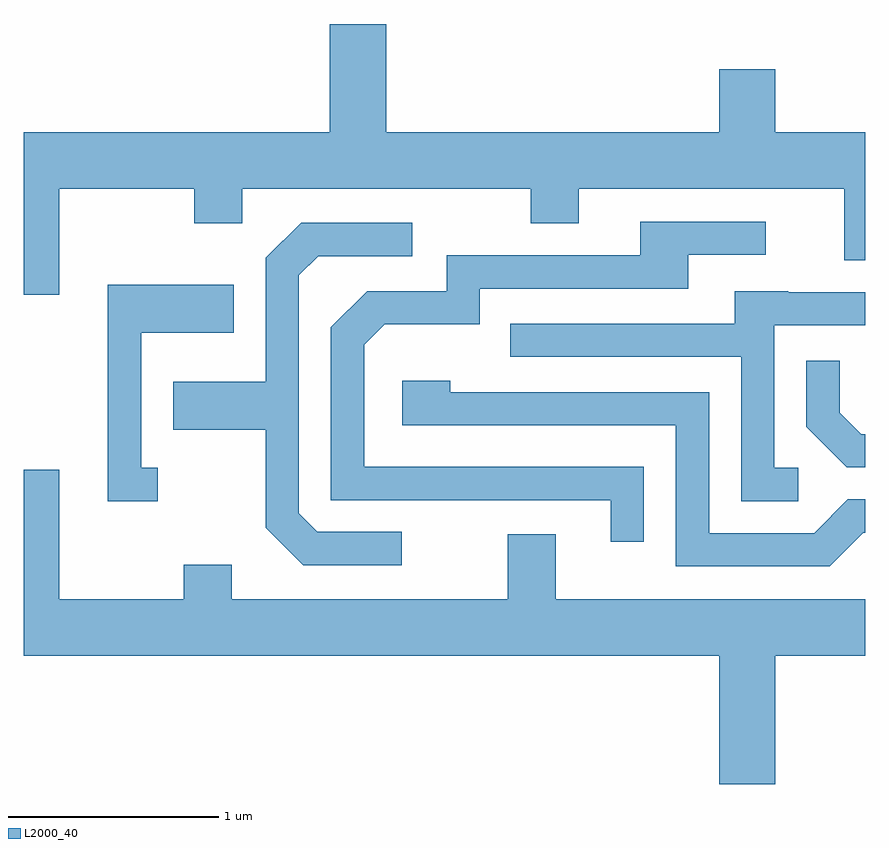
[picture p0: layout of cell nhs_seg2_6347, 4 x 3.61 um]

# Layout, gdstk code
import gdstk
lib = gdstk.Library(unit=1e-6, precision=1e-09)
def P(c, l, *ps):  # polygons
    for p in ps: c.add(gdstk.Polygon(p, *l))
L2000_40 = (2000, 40)

nhs_seg2_6347 = lib.new_cell('nhs_seg2_6347')
P(nhs_seg2_6347, L2000_40, [(371.779,1094.936),(372.421,1094.936),(372.421,1094.771),(372.649,1094.771),(372.649,1094.936),(374.021,1094.936),(374.021,1094.771),(374.249,1094.771),(374.249,1094.936),(375.511,1094.936),(375.511,1094.596),(375.611,1094.596),(375.611,1095.204),(375.184,1095.204),(375.184,1095.504),(374.916,1095.504),(374.916,1095.204),(373.334,1095.204),(373.334,1095.719),(373.066,1095.719),(373.066,1095.204),(371.611,1095.204),(371.611,1094.431),(371.779,1094.431)],
  [(374.559,1093.614),(373.229,1093.614),(373.229,1094.194),(373.327,1094.291),(373.779,1094.291),(373.779,1094.461),(374.769,1094.461),(374.769,1094.621),(375.138,1094.621),(375.138,1094.779),(374.541,1094.779),(374.541,1094.619),(373.621,1094.619),(373.621,1094.449),(373.244,1094.449),(373.071,1094.277),(373.071,1093.456),(374.401,1093.456),(374.401,1093.258),(374.559,1093.258)],
  [(373.408,1093.304),(373.007,1093.304),(372.919,1093.392),(372.919,1094.524),(373.012,1094.616),(373.458,1094.616),(373.458,1094.774),(372.929,1094.774),(372.761,1094.607),(372.761,1094.019),(372.321,1094.019),(372.321,1093.791),(372.761,1093.791),(372.761,1093.324),(372.939,1093.146),(373.408,1093.146)],
  [(372.248,1093.609),(372.169,1093.609),(372.169,1094.251),(372.609,1094.251),(372.609,1094.479),(372.011,1094.479),(372.011,1093.451),(372.248,1093.451)],
  [(375.293,1093.609),(375.179,1093.609),(375.179,1094.286),(375.611,1094.286),(375.611,1094.444),(375.245,1094.444),(375.245,1094.449),(374.991,1094.449),(374.991,1094.294),(373.923,1094.294),(373.923,1094.136),(375.021,1094.136),(375.021,1093.451),(375.293,1093.451)],
  [(375.611,1093.769),(375.592,1093.769),(375.489,1093.872),(375.489,1094.118),(375.331,1094.118),(375.331,1093.804),(375.524,1093.611),(375.611,1093.611)],
  [(375.602,1093.301),(375.611,1093.301),(375.611,1093.459),(375.529,1093.459),(375.369,1093.299),(374.869,1093.299),(374.869,1093.969),(373.639,1093.969),(373.639,1094.024),(373.411,1094.024),(373.411,1093.811),(374.711,1093.811),(374.711,1093.141),(375.442,1093.141)],
  [(375.184,1092.716),(375.611,1092.716),(375.611,1092.984),(374.139,1092.984),(374.139,1093.294),(373.911,1093.294),(373.911,1092.984),(372.599,1092.984),(372.599,1093.149),(372.371,1093.149),(372.371,1092.984),(371.779,1092.984),(371.779,1093.599),(371.611,1093.599),(371.611,1092.716),(374.916,1092.716),(374.916,1092.106),(375.184,1092.106)])

lib.write_gds('nhs_seg2_6347.gds')
